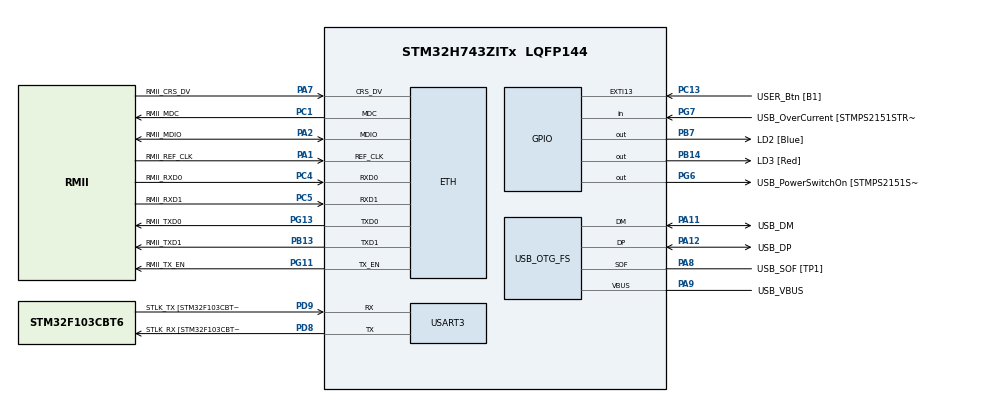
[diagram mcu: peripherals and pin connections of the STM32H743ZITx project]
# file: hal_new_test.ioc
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ETH.MediaInterface=HAL_ETH_RMII_MODE
Mcu.Family=STM32H7
Mcu.Name=STM32H743ZITx
Mcu.Package=LQFP144
NVIC.OTG_FS_IRQn=true\:0\:0\:false\:false\:true\:false
NVIC.PriorityGroup=NVIC_PRIORITYGROUP_4
PA1.GPIO_Label=RMII_REF_CLK
PA1.Mode=RMII
PA1.Signal=ETH_REF_CLK
PA10.GPIO_Label=USB_ID
PA10.Signal=USB_OTG_FS_ID
PA11.GPIO_Label=USB_DM
PA11.Mode=Device_Only
PA11.Signal=USB_OTG_FS_DM
PA12.GPIO_Label=USB_DP
PA12.Mode=Device_Only
PA12.Signal=USB_OTG_FS_DP
PA13.GPIO_Label=TMS
PA13.Mode=Serial_Wire
PA13.Signal=SYS_JTMS-SWDIO
PA14.GPIO_Label=TCK
PA14.Mode=Serial_Wire
PA14.Signal=SYS_JTCK-SWCLK
PA2.GPIO_Label=RMII_MDIO
PA2.Mode=RMII
PA2.Signal=ETH_MDIO
PA7.GPIO_Label=RMII_CRS_DV
PA7.Mode=RMII
PA7.Signal=ETH_CRS_DV
PA8.GPIO_Label=USB_SOF [TP1]
PA8.Mode=Activate_SOF_FS
PA8.Signal=USB_OTG_FS_SOF
PA9.GPIO_Label=USB_VBUS
PA9.Mode=Activate_VBUS
PA9.Signal=USB_OTG_FS_VBUS
PB13.GPIO_Label=RMII_TXD1
PB13.Mode=RMII
PB13.Signal=ETH_TXD1
PB14.GPIO_Label=LD3 [Red]
PB14.Signal=GPIO_Output
PB3.GPIO_Label=SWO
PB3.Signal=SYS_JTDO-SWO
PB7.GPIO_Label=LD2 [Blue]
PB7.Signal=GPIO_Output
PC1.GPIO_Label=RMII_MDC
PC1.Mode=RMII
PC1.Signal=ETH_MDC
PC13.GPIO_Label=USER_Btn [B1]
PC13.Signal=GPXTI13
PC14-OSC32_IN.Mode=LSE-External-Oscillator
PC14-OSC32_IN.Signal=RCC_OSC32_IN
PC15-OSC32_OUT.Mode=LSE-External-Oscillator
PC15-OSC32_OUT.Signal=RCC_OSC32_OUT
PC4.GPIO_Label=RMII_RXD0
PC4.Mode=RMII
PC4.Signal=ETH_RXD0
PC5.GPIO_Label=RMII_RXD1
PC5.Mode=RMII
PC5.Signal=ETH_RXD1
PD8.GPIO_Label=STLK_RX [STM32F103CBT6_PA3]
PD8.Mode=Asynchronous
PD8.Signal=USART3_TX
PD9.GPIO_Label=STLK_TX [STM32F103CBT6_PA2]
PD9.Mode=Asynchronous
PD9.Signal=USART3_RX
PG11.GPIO_Label=RMII_TX_EN
PG11.Mode=RMII
PG11.Signal=ETH_TX_EN
PG13.GPIO_Label=RMII_TXD0
PG13.Mode=RMII
PG13.Signal=ETH_TXD0
PG6.GPIO_Label=USB_PowerSwitchOn [STMPS2151STR_EN]
PG6.Signal=GPIO_Output
PG7.GPIO_Label=USB_OverCurrent [STMPS2151STR_FAULT]
PG7.Signal=GPIO_Input
PH0-OSC_IN.GPIO_Label=MCO
PH0-OSC_IN.Mode=HSE-External-Clock-Source
PH0-OSC_IN.Signal=RCC_OSC_IN
PH1-OSC_OUT.Mode=HSE-External-Clock-Source
PH1-OSC_OUT.Signal=RCC_OSC_OUT
ProjectManager.HeapSize=0x2000
ProjectManager.StackSize=0x400
ProjectManager.TargetToolchain=Makefile
RCC.48MHZClocksFreq_Value=24000000
RCC.ADCFreq_Value=16125000
RCC.AHBFreq_Value=216000000
RCC.APB1CLKDivider=RCC_HCLK_DIV4
RCC.APB1Freq_Value=96000000
RCC.APB1TimFreq_Value=108000000
RCC.APB2CLKDivider=RCC_HCLK_DIV2
RCC.APB2Freq_Value=96000000
RCC.APB2TimFreq_Value=216000000
RCC.APB3Freq_Value=96000000
RCC.APB4Freq_Value=96000000
RCC.CortexFreq_Value=96000000
RCC.DIVM1=1
RCC.DIVN1=24
RCC.DIVQ1=4
RCC.HCLKFreq_Value=96000000
RCC.HSE_VALUE=8000000
RCC.HSI_VALUE=64000000
RCC.PLLM=25
RCC.PLLMUL=RCC_PLL_MUL9
RCC.PLLN=432
RCC.PLLQ=9
RCC.PRESCALERUSB=RCC_USBCLKSOURCE_PLL_DIV1_5
RCC.SYSCLKFreq_VALUE=96000000
RCC.SYSCLKSource=RCC_SYSCLKSOURCE_PLLCLK
RCC.SYSCLKSourceVirtual=RCC_SYSCLKSOURCE_PLLCLK
RCC.USBFreq_Value=48000000
RCC.VCOOutputFreq_Value=432000000
USART3.VirtualMode-Asynchronous=VM_ASYNC
USB_DEVICE.CLASS_NAME_FS=CDC
USB_DEVICE.VirtualMode-CDC_FS=Cdc
USB_DEVICE.VirtualModeFS=Cdc_FS
USB_OTG_FS.VirtualMode=Device_Only
VP_USB_DEVICE_VS_USB_DEVICE_CDC_FS.Mode=CDC_FS
board=NUCLEO-H743ZI

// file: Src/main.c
#include "main.h"
#include "stm32h7xx_hal.h"
#include "eth.h"
#include "usart.h"
#include "usb_device.h"
#include "gpio.h"
#include "usbd_cdc.h"

/* USER CODE BEGIN PV */
/* Private variables ---------------------------------------------------------*/
#define TIM2_CCR1_Address ((unsigned int)0x40000000 + 0x34)
#define DMA_BUFFER_SIZE   61440
#define SIZE 15360
#define NUMBER_OF_CYCLE 12
#define Destination_Address ((unsigned int)0x30000000)

USBD_HandleTypeDef hUsbDeviceFS;

// TODO: why does this not zeroed array
unsigned short int buffer[DMA_BUFFER_SIZE] __attribute__((section(".orbita_buffer")));
unsigned int bufferIndex = 0;
unsigned int bufferValue = 0;

typedef struct {
  unsigned int NDTR;
  unsigned int circBufferCounter;
  unsigned int dmaFlag;
  unsigned int StartBufferEntry;

} DEBUG_STRUCT;

#define debugBufferLength 4
DEBUG_STRUCT debugBuffer[debugBufferLength];
unsigned int debugIndex = 0;

volatile unsigned int dmaFlag = 0;
volatile unsigned int flipFlag = 0;

char string[22] = "end\r\n";

unsigned int transmissionFlag = 0;

USBD_HandleTypeDef *usbDevice;

/* USER CODE END PV */

void SystemClock_Config(void);

/* USER CODE BEGIN PFP */
/* Private function prototypes -----------------------------------------------*/

/* USER CODE END PFP */

static void my_initClocks(void);
static void my_initGPIO(void);
static void my_DMA_init(void);
static void my_TIM2_initInputCaptureTimer(void);
static void TIM6_myInit(void);
static void TIM3_myInit(void);

static void printArray(void);
static void zeroArray(void);
static void printDebugBuffer(void);
static void writeFile(void);

int main(void)
{

  HAL_Init();

  SCB_InvalidateICache();
  SCB_InvalidateDCache();
  SCB_DisableICache();
  SCB_DisableDCache();
  /*SCB_InvalidateICache();
  SCB_InvalidateDCache();
  SCB_EnableICache();
  SCB_EnableDCache();*/

  my_initClocks();
  my_initGPIO();

  MX_ETH_Init();
  MX_USART3_UART_Init();
  usbDevice = MX_USB_DEVICE_Init();

  zeroArray();

  HAL_Delay(2000);
  printf("waiting\r\n");
  while((strcmp(string, "send_data")) != 0);
  printf("start \r\n");

  my_DMA_init();
  my_TIM2_initInputCaptureTimer();
  TIM3_myInit();

  unsigned int stopFlag = 0;
  while (1)
  {
    if(stopFlag < NUMBER_OF_CYCLE) {
      if(DMA1_Stream0->NDTR < DMA_BUFFER_SIZE/2) {

        for(int i = 0; i < DMA_BUFFER_SIZE/SIZE/2; ++i) {
          SCB_CleanDCache();
          CDC_Transmit_FS(buffer+SIZE*i, SIZE*sizeof(unsigned short int));
          while(((USBD_CDC_HandleTypeDef*)(hUsbDeviceFS.pClassData))->TxState != 0);
        } // transfer via USB first half of buffer

        while(!flipFlag);

        for(int i = DMA_BUFFER_SIZE/SIZE/2; i < DMA_BUFFER_SIZE/SIZE; ++i) {
          SCB_CleanDCache();
          CDC_Transmit_FS(buffer+SIZE*i, SIZE*sizeof(unsigned short int));
          while(((USBD_CDC_HandleTypeDef*)(hUsbDeviceFS.pClassData))->TxState != 0);
        } // transfer via USB first half of buffer
        stopFlag++;

      }
    }

    if(stopFlag == NUMBER_OF_CYCLE) {
      // "end\0" flag
      TIM3->CR1 = 0;
      buffer[0] = 0x6E65;
      buffer[1] = 0x0064;
      buffer[2] = 0x0;
      CDC_Transmit_FS(buffer, SIZE*sizeof(unsigned short int));
      while(((USBD_CDC_HandleTypeDef*)(hUsbDeviceFS.pClassData))->TxState != 0);
    }

  }// while
}// main

void TIM2_IRQHandler(void) {

  // reset interrupt flag
  TIM2->SR = 0;
  //GPIOB->ODR ^= (0x1 << 7);

  //tick = systick_ms;
  //flag++;
}

void DMA1_Stream0_IRQHandler(void) {

  // clear interrupt flag
  DMA1->LIFCR |= (0x1 << 3) | (0x1 << 5);
  //TIM6->CR1 &= ~(0x1);
  GPIOB->ODR |= (0x1 << 7);
  dmaFlag++;
  flipFlag++;

}

void TIM6_DAC_IRQHandler(void) {
  // reset interrupt flag
  TIM6->SR &= ~(0x1 << 0);

  //buffer[bufferIndex] = TIM2->CNT;
  //bufferValue += 5;
  //bufferIndex = (++bufferIndex)%DMA_BUFFER_SIZE;
  // toggle pin
  GPIOG->ODR ^= (0x1 << 0);
}

static void my_initGPIO(void) {
  // GPIO initialization
  // WARNING idk why but if deactivate some of them USB stop work, even if
  // designated pins (overcurrent\power_switch) still active
  RCC->AHB4ENR |= (1 << 0);
  RCC->AHB4ENR |= (1 << 1);
  RCC->AHB4ENR |= (1 << 2);
  RCC->AHB4ENR |= (1 << 3);
  RCC->AHB4ENR |= (1 << 4);
  RCC->AHB4ENR |= (1 << 6);
  RCC->AHB4ENR |= (1 << 7);
  // configurate Blue_LD pin
  GPIOB->MODER &= ~(0x2 << 14);
  // configurate Red_LD pin
  GPIOB->MODER &= ~(0x2 << 28);
  // configurate toggle pin for INP/CAP
  GPIOG->MODER &= ~(0x2 << 0);
  // configurate external LD pin
  GPIOE->MODER &= ~(0x2 << 0);
  // Usb powerSwitch ON pin (reset)
  GPIOG->ODR &= ~(0x1 << 6);
  // configure usb power switch on PIT
  GPIOG->MODER &= ~(0x2 << 12);
  GPIOG->PUPDR &= ~(0x3 << 12);
  GPIOG->OSPEEDR &= ~(0x3 << 12);
  // configure usb overcurrent pin
  GPIOG->MODER &= ~(0x3 << 14);
  GPIOG->PUPDR &= ~(0x3 << 14);
  // deactivate pin
  GPIOG->ODR &= ~(0x1 << 0);
  GPIOE->ODR &= ~(0x1 << 0);

  // NOTE: config PA5-leg as input for InpCap TIM2
  // clear PA5 part of MODER register
  GPIOA->MODER &= ~(0x3 << 10);
  // put PA5 in alternate function mode
  GPIOA->MODER |= (0x2 << 10);
  // config PA5 for using (AF1 - TIM2_CH1)
  GPIOA->AFR[0] |= (0x1 << 20);
  // config PA5 (nopull)
  GPIOA->PUPDR &= ~(0x3 << 10);
  // config PA5 (VERY HIGH FREQ)
  GPIOA->OSPEEDR |= (0x3 << 10);

  // NOTE: config PC13-leg as external interrupt for user button (blue button)
  // enable clock to SysCFG
  RCC->APB4ENR |= (0x1 << 1);
  // config pin as input
  GPIOC->MODER &= ~(0x3 << 26);
  // set PC13 pin as source of External Interrupt
  SYSCFG->EXTICR[3] |= (0x2 << 4);
  // enable interrupt generation to PC13 leg via masking
  EXTI_D1->IMR1 |= (0x1 << 13);
  // use (Rising edge) for PC13 event generation -> clear Falling edge register
  EXTI->FTSR1 &= ~(0x1 << 13);
  // use (Rising edge) for PC13
  EXTI->RTSR1 |= (0x1 << 13);
  // config PC13 (NOPULL)
  GPIOC->PUPDR &= ~(0x3 << 26);
}

static void my_TIM2_initInputCaptureTimer(void) {
  // enable clock source for timer
  RCC->APB1LENR |= (0x1 << 0);
  // set prescaler to 200
  TIM2->PSC = 1 - 1;
  // set Auto-Reload-Register to 16bit
  TIM2->ARR = 65536-1;
  // choose TIM2_CH1 input
  TIM2->TISEL |= (0x0 << 0);
  // set channel 1 as input mapped on TI1
  TIM2->CCMR1 |= (0x1 << 0);
  // digital filter length (0)
  TIM2->CCMR1 |= (0x0 << 4);
  // rising & falling edge
  TIM2->CCER |= (0x1 << 1);
  TIM2->CCER |= (0x1 << 3);
  // prescaler to (0)
  TIM2->CCMR1 |= (0x0 << 2);
  // enable DMA interrupt &  disable Capture/Compare interrupt
  TIM2->DIER |= (0x1 << 9) | (0x0 << 1);
  // capture enabled
  TIM2->CCER |= (0x1 << 0);
  // reset registers WARNING: need for preloading PSC
  TIM2->EGR |= (0x1 << 0);
  // enable TIM3 timer
  TIM2->CR1 |= TIM_CR1_CEN;
  // enable interrupt request
  // NVIC_EnableIRQ(TIM2_IRQn);
  // set priority
  // NVIC_SetPriority(TIM2_IRQn, 1);
}

// this part configurate TIM3 timer as output compare timer
static void TIM3_myInit(void) {

  // NOTE: config PA6-leg as output for OutCap TIM3
  // clear PA6 part of MODER register
  GPIOA->MODER &= ~(0x3 << 12);
  // put PA6 in alternate function mode
  GPIOA->MODER |= (0x2 << 12);
  // config PA6 for using (AF2 - TIM3_CH1)
  GPIOA->AFR[0] |= (0x2 << 24);
  // config PA6 (nopull)
  GPIOA->PUPDR &= ~(0x3 << 12);
  // config PA6 (VERY HIGH FREQ)
  GPIOA->OSPEEDR |= (0x3 << 12);

  // enable tim3
  RCC->APB1LENR |= RCC_APB1LENR_TIM3EN;
  // disable tim3 and clear control register
  TIM3->CR1 = 0;
  // clear CCER register NOTE: needed for writing into CCMR1 register
  TIM3->CCER = 0;
  // clear CCMR1 register and set CH1 as output (CC1S register)
  TIM3->CCMR1 = 0;
  // toggle pin on event
  TIM3->CCMR1 |= (0x3 << 4);
  // set AutoReloadRegister
  TIM3->ARR = 10 - 1;
  // set Prescaler value
  TIM3->PSC = 25 - 1;
  // reset registers WARNING: need for preloading PSC
  TIM3->EGR |= (0x1 << 0);
  // connect output pin to CH1
  TIM3->CCER |= (0x1 << 0);
  // enable TIM3
  TIM3->CR1 = (0x1 << 0);

}

static void my_DMA_init(void) {
  // enable DMA1 clocking
  RCC->AHB1ENR |= (0x1 << 0);
  // clear EN bit to 0
  DMA1_Stream0->CR &= ~(0x1 << 0);
  // safeguard EN bit reset
  while (DMA1_Stream0->CR & 0x1);
  // check LISR HISR registers
  if ((DMA1->HISR == 0) && (DMA1->LISR == 0))
    printf("status registers is clear\r\n");
  else
    printf("status register is not clear -- DMA wont start\r\n");
  // set peripheral addres
  DMA1_Stream0->PAR = TIM2_CCR1_Address;
  // set memory addres
  //DMA1_Stream0->M0AR = Destination_Address;
  DMA1_Stream0->M0AR = (unsigned int)buffer;
  // set total number of data items
  DMA1_Stream0->NDTR = DMA_BUFFER_SIZE;
  // NOTE: configurate TIM2_CH1 interrupt route
  // set DMAMUX to route request (TIM2_CH1)
  DMAMUX1_Channel0->CCR |= 18U;
  // set DMA priority (very high)
  DMA1_Stream0->CR |= (0x3 << 16);
  // set memory data size (16)
  DMA1_Stream0->CR |= (0x1 << 13);
  // set peripheral data size (16)
  DMA1_Stream0->CR |= (0x1 << 11);
  // set memory addres increment  (enable)
  DMA1_Stream0->CR |= (0x1 << 10);
  // set peripheral addres increment (disable)
  DMA1_Stream0->CR |= (0x0 << 9);
  // set circular buffer mode (enable)
  DMA1_Stream0->CR |= (0x1 << 8);
  // set data transfer direction (peripheral to memory)
  DMA1_Stream0->CR |= (0x0 << 6);
  // set transfer complete interrupt
  DMA1_Stream0->CR |= (0x1 << 4);
  // set transfer error interrupt
  DMA1_Stream0->CR |= (0x1 << 2);
  // enable DMA1
  DMA1_Stream0->CR |= (0x1 << 0);
  // enable IRQ
  NVIC_EnableIRQ(DMA1_Stream0_IRQn);
  NVIC_SetPriority(DMA1_Stream0_IRQn, 0);
  printf("DMA1_Stream0 %lu \r\n", (DMA1_Stream0->CR & 0x1));
  printf("DMA1_Stream0 CIRC %lu \r\n", (DMA1_Stream0->CR >> 8) & 0x1);
}

// this part configurate TIM6 timer interrupt (TIM6_DAC_IRQHandler)
static void TIM6_myInit(void) {
  //printf("inside init \r\n");
  // start sending CLOCK to TIM6
  RCC->APB1LENR |= (1 << 4);
  // value timer count must reach before interrupt
  // now it should be approx (1 sec) (200Mhz apb1-timer clock / PSC / ARR = 1 Hz)
  // WARNING: -1 bcoz of the counter architecture -> he make 0 to 10000 same for PSC
  TIM6->ARR = 100 - 1;
  // prescaler clock that divide APB1 timers clock
  TIM6->PSC = 400 - 1;
  // enable interrupt
  TIM6->DIER |= TIM_DIER_UIE | TIM_DIER_UDE;
   // enable interrupt request
  NVIC_EnableIRQ(TIM6_DAC_IRQn);
  // set priority
  NVIC_SetPriority(TIM6_DAC_IRQn, 0);
  // enable TIM6
  TIM6->CR1 |= TIM_CR1_CEN;
}

// just clear array for easier visualization
static void zeroArray(void) {
  for(int i = 0; i < DMA_BUFFER_SIZE; ++i) {
    buffer[i] = i;
  }
}

static void printDebugBuffer(void) {
  printf("Debug Info: \r\n");
  for(int i = 0; i < debugBufferLength; ++i) {

    if(!(i % 2)) {
      printf("------------------------------ \r\n");
    }
    printf("NDTR: %u circBuffer %u dmaFlag: %u StartBufferEntry %10u \r\n",
           debugBuffer[i].NDTR,
           debugBuffer[i].circBufferCounter,
           debugBuffer[i].dmaFlag,
           debugBuffer[i].StartBufferEntry);
  }
  //printf("end \r\n");
}

// print array in matrix like style
static void printArray(void) {
  printf("buffer: \r\n");
  for(int i = 0; i < 1000; ++i) {
    printf(" %12u ", buffer[i]);
    // new line every 10 outputs
    if(!((i+1) % 4)) {
      printf("\r\n");
    }
  }
}

static void writeFile(void) {
  unsigned int circ_buffer_ptr = 0;
  for(int i = 0; i < (DMA_BUFFER_SIZE/SIZE); ++i) {
    CDC_Transmit_FS(buffer + circ_buffer_ptr, SIZE*sizeof(unsigned int));
    circ_buffer_ptr = (circ_buffer_ptr + SIZE) % DMA_BUFFER_SIZE;
    while(((USBD_CDC_HandleTypeDef*)(hUsbDeviceFS.pClassData))->TxState != 0);
  }
}// writeFile

/* USER CODE BEGIN 4 */
int __io_putchar(int ch)
{
  uint8_t c[1];
  c[0] = ch & 0x00FF;
  HAL_UART_Transmit(&huart3, &c[0], 1, 10);
  return ch;
}

int _write(int file,char *ptr, int len)
{
  int DataIdx;
  for(DataIdx= 0; DataIdx< len; DataIdx++)
  {
    __io_putchar(*ptr++);
  }
  return len;
}

/* USER CODE END 4 */

void _Error_Handler(char *file, int line)
{
  while(1)
  {
  }
}

/************************ (C) COPYRIGHT STMicroelectronics *****END OF FILE****/
/* USER CODE BEGIN 7 */
// this config should get (400 Mhz) CPU clock from (8 Mhz Hse) RC oscillator
void my_initClocks(void) {
  // WARNING: this is needed bcoz of high CPU freq
  // set up power Level Scale 1
  MODIFY_REG(PWR->CR3, PWR_CR3_SCUEN, 0);
  PWR->D3CR |= (0x3 << 14);
  // power level configuration safeguard
  while ((PWR->D3CR & (PWR_D3CR_VOSRDY)) != PWR_D3CR_VOSRDY);
  // Enable HSI48 for usb clocking
  RCC->CR |= (0x1 << 12);
  // Enable HSE as Bypass RC-oscillator
  // HSEBYP bit enabled
  RCC->CR |= (1 << 18);
  // HSEON bit enabled
  RCC->CR |= (1 << 16);
  // safeguard HSE
  while(!(RCC->CR & (0x1 << 17)));
  // NOTE: for further configuration
  // PLL OFF
  RCC->CR &= ~(RCC_CR_PLL1ON);
  // set PLL1 source as (HSE)
  RCC->PLLCKSELR |= (0x2 << 0);
  // set PLL1 prescaler to (1)
  RCC->PLLCKSELR |= (0x1 << 4);
  // set PLL1 multiplier to (100)
  RCC->PLL1DIVR |= (0x64 << 0);
  // set PLL1 DIVP1 to (2)
  RCC->PLL1DIVR |= (0x1 << 9);
  // set PLL1 DIVQ1 to (4)
  RCC->PLL1DIVR |= (0x3 << 16);
  // set PLL1 DIVR1 to (2)
  RCC->PLL1DIVR |= (0x1 << 24);
  // disable PLL1 FRACTION mode
  RCC->PLLCFGR &= ~(0x1 << 0);
  // set FRACN1 to (0)
  RCC->PLL1FRACR = 0x0;
  // set PLL input freq range to (8 - 16 Mhz)
  RCC->PLLCFGR |= (0x3 << 2);
  // set PLL VCO frequency range (wide -> 192 - 836 Mhz)
  RCC->PLLCFGR |= (0x1 << 1);
  // set PLL1_DIVP|DIVQ|DIVR enable
  RCC->PLLCFGR |= (0x1 << 18) | (0x1 << 17) | (0x1 << 16);
  // enable PLL1 FRACTION mode
  RCC->PLLCFGR |= (0x1 << 0);
  // enable PLL1
  RCC->CR |= (RCC_CR_PLL1ON);
  // safeguard PLL1
  while(!(RCC->CR & (0x1 << 25)));
  // WARNING should be matched with CPU speed
  // set FLASH Latency (wait 2)
  FLASH->ACR |= (0x2 << 0);
  // NOTE 0x8 -> 2, 0x9 -> 4 ... first bit of reg part should be 1
  // set HPRE to (2)
  RCC->D1CFGR |= (0x8 << 0);
  // set D1CPRE to (1)
  RCC->D1CFGR |= (0x0 << 8);
  // NOTE: actually do not needed
  // safeguard PLL1
  while(!(RCC->CR & (0x1 << 25)));
  // set D1PPRE to (2)
  RCC->D1CFGR |= (0x4 << 4);
  // set D2PPRE1 to (2)
  RCC->D2CFGR |= (0x4 << 4);
  // set D2PPRE2 to (2)
  RCC->D2CFGR |= (0x4 << 8);
  // set D3PPRE2 to (2)
  RCC->D3CFGR |= (0x4 << 4);
  // set PLL1 as (sysClk)
  RCC->CFGR |= (0x3 << 0);
  // set USART2/3/4/5/7/8 clockw as (rcc_pclk1)
  RCC->D2CCIP2R &= ~(0x7 << 0);
  RCC->D2CCIP2R |= (0x0 << 0);
  // set USB clock as (HSI48)
  RCC->D2CCIP2R &= ~(0x3 << 20);
  RCC->D2CCIP2R |= (0x3 << 20);
  // TODO make my own realization of this func
  // NOTE 1 us is an overkill and just busting CPU for no real purpose
  //SysTick_Config(400000000/1000);
  // set prirority of the SysTick
  //NVIC_SetPriority(SysTick_IRQn, 0);
}
/* USER CODE END 7 */
